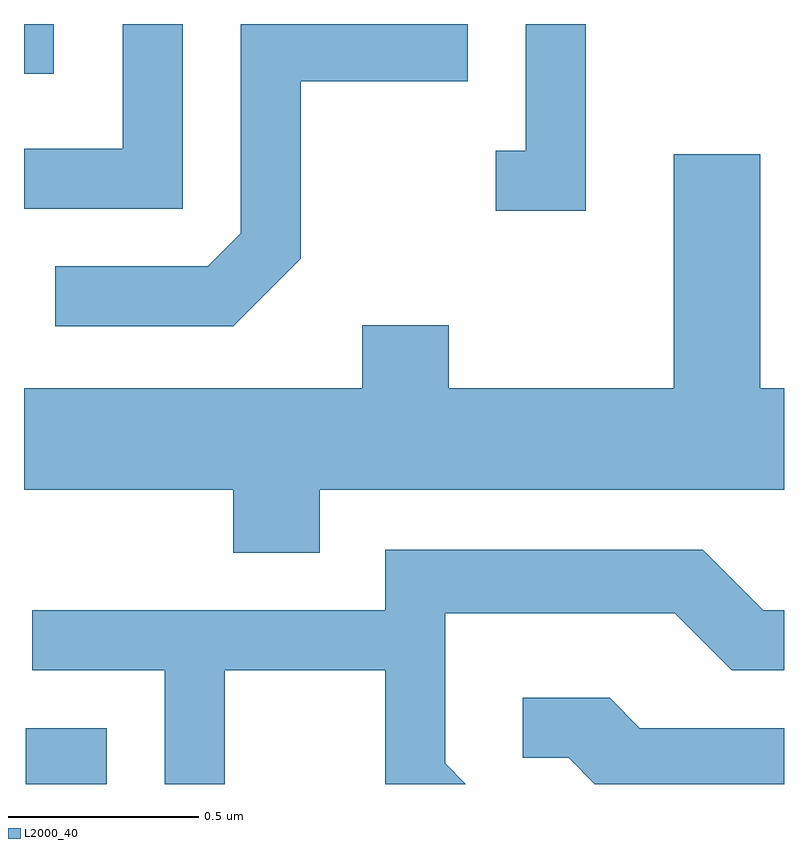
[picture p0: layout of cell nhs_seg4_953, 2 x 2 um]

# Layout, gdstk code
import gdstk
lib = gdstk.Library(unit=1e-6, precision=1e-09)
def R(c, l, rs):  # rectangles x0, y0, x1, y1
    for r in rs: c.add(gdstk.rectangle(r[:2], r[2:], *l))
def P(c, l, *ps):  # polygons
    for p in ps: c.add(gdstk.Polygon(p, *l))
L2000_40 = (2000, 40)

nhs_seg4_953 = lib.new_cell('nhs_seg4_953')
R(nhs_seg4_953, L2000_40, [(191.616,1384.982,191.829,1385.129), (191.611,1386.851,191.689,1386.982)])
P(nhs_seg4_953, L2000_40, [(192.029,1386.982),(191.871,1386.982),(191.871,1386.654),(191.611,1386.654),(191.611,1386.496),(192.029,1386.496)],
  [(192.339,1386.364),(192.339,1386.831),(192.779,1386.831),(192.779,1386.982),(192.181,1386.982),(192.181,1386.432),(192.094,1386.344),(191.693,1386.344),(191.693,1386.186),(192.162,1386.186)],
  [(193.089,1386.982),(192.931,1386.982),(192.931,1386.649),(192.853,1386.649),(192.853,1386.491),(193.089,1386.491)],
  [(192.389,1385.756),(193.611,1385.756),(193.611,1386.024),(193.549,1386.024),(193.549,1386.639),(193.321,1386.639),(193.321,1386.024),(192.729,1386.024),(192.729,1386.189),(192.501,1386.189),(192.501,1386.024),(191.611,1386.024),(191.611,1385.756),(192.161,1385.756),(192.161,1385.591),(192.389,1385.591)],
  [(192.139,1385.281),(192.561,1385.281),(192.561,1384.982),(192.774,1384.982),(192.719,1385.037),(192.719,1385.431),(193.324,1385.431),(193.474,1385.281),(193.611,1385.281),(193.611,1385.439),(193.557,1385.439),(193.397,1385.599),(192.561,1385.599),(192.561,1385.439),(191.633,1385.439),(191.633,1385.281),(191.981,1385.281),(191.981,1384.982),(192.139,1384.982)],
  [(193.611,1385.129),(193.232,1385.129),(193.152,1385.209),(192.923,1385.209),(192.923,1385.051),(193.044,1385.051),(193.113,1384.982),(193.611,1384.982)])

lib.write_gds('nhs_seg4_953.gds')
